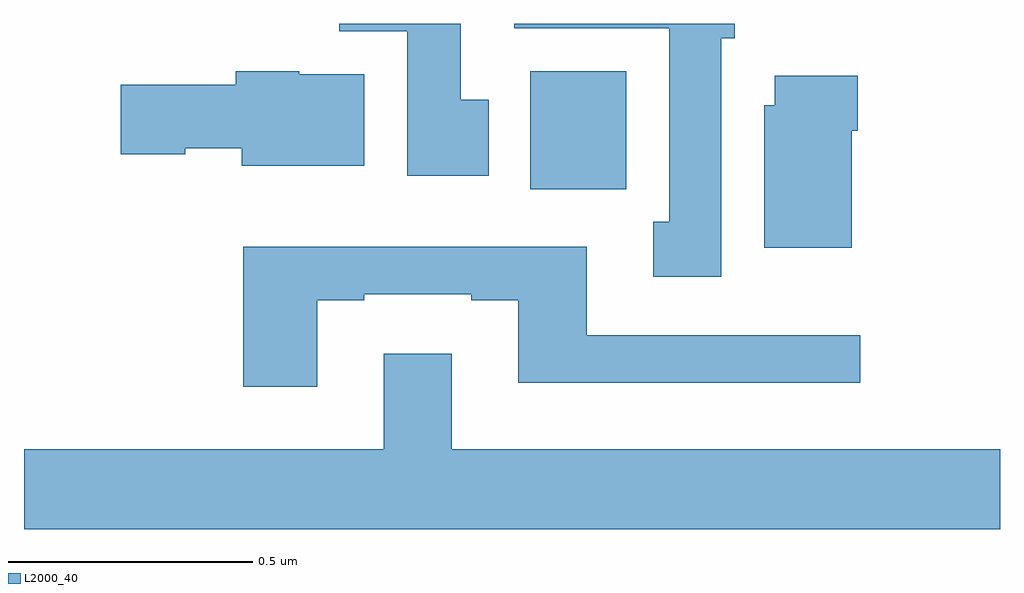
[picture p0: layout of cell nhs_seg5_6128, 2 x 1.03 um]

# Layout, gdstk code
import gdstk
lib = gdstk.Library(unit=1e-6, precision=1e-09)
def R(c, l, rs):  # rectangles x0, y0, x1, y1
    for r in rs: c.add(gdstk.rectangle(r[:2], r[2:], *l))
def P(c, l, *ps):  # polygons
    for p in ps: c.add(gdstk.Polygon(p, *l))
L2000_40 = (2000, 40)

nhs_seg5_6128 = lib.new_cell('nhs_seg5_6128')
R(nhs_seg5_6128, L2000_40, [(193.037,853.46,193.234,853.702)])
P(nhs_seg5_6128, L2000_40, [(193.429,853.77),(193.456,853.77),(193.456,853.799),(193.005,853.799),(193.005,853.79),(193.322,853.79),(193.322,853.394),(193.289,853.394),(193.289,853.281),(193.429,853.281)],
  [(192.952,853.644),(192.895,853.644),(192.895,853.799),(192.646,853.799),(192.646,853.784),(192.785,853.784),(192.785,853.488),(192.952,853.488)],
  [(192.697,853.696),(192.564,853.696),(192.564,853.702),(192.434,853.702),(192.434,853.674),(192.198,853.674),(192.198,853.532),(192.33,853.532),(192.33,853.544),(192.446,853.544),(192.446,853.508),(192.697,853.508)],
  [(193.696,853.58),(193.709,853.58),(193.709,853.693),(193.538,853.693),(193.538,853.632),(193.517,853.632),(193.517,853.34),(193.696,853.34)],
  [(192.601,853.233),(192.697,853.233),(192.697,853.245),(192.917,853.245),(192.917,853.233),(193.013,853.233),(193.013,853.064),(193.714,853.064),(193.714,853.161),(193.153,853.161),(193.153,853.342),(192.449,853.342),(192.449,853.056),(192.601,853.056)],
  [(192.737,853.123),(192.737,852.928),(192,852.928),(192,852.764),(194,852.764),(194,852.928),(192.877,852.928),(192.877,853.123)])

lib.write_gds('nhs_seg5_6128.gds')
